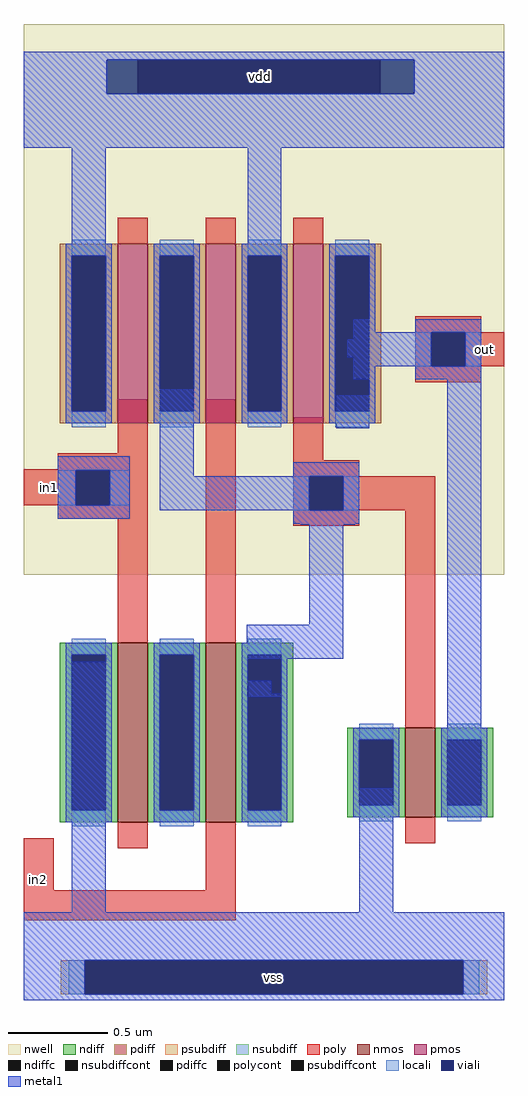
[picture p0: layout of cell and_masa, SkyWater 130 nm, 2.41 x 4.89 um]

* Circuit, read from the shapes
.subckt and_masa in1 in2 out vdd vss
XM1 n1 in1 vss vss sky130_fd_pr__nfet_01v8 w=0.9 l=0.15
XM2 n2 in2 n1 vss sky130_fd_pr__nfet_01v8 w=0.9 l=0.15
XM3 out n2 vss vss sky130_fd_pr__nfet_01v8 w=0.45 l=0.15
XM4 n2 in1 vdd vdd sky130_fd_pr__pfet_01v8 w=0.9 l=0.15
XM5 vdd in2 n2 vdd sky130_fd_pr__pfet_01v8 w=0.9 l=0.15
XM6 out n2 vdd vdd sky130_fd_pr__pfet_01v8 w=0.9 l=0.15
.ends

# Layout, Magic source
magic
tech sky130A
magscale 1 2
<< nwell >>
rect -40 740 441 912
rect -38 501 441 740
rect -40 360 441 501
<< psubdiff >>
rect -3 -60 21 -26
rect 400 -60 424 -26
<< nsubdiff >>
rect 43 842 74 876
rect 317 842 351 876
<< psubdiffcont >>
rect 21 -60 400 -26
<< nsubdiffcont >>
rect 74 842 317 876
<< poly >>
rect 352 603 418 619
rect 352 569 368 603
rect 402 569 441 603
rect 352 553 418 569
rect 54 482 84 536
rect -6 466 84 482
rect -40 465 84 466
rect -40 430 12 465
rect 46 430 84 465
rect -6 416 84 430
rect 54 317 84 416
rect 142 314 172 536
rect 230 475 260 518
rect 230 459 296 475
rect 230 425 246 459
rect 280 425 372 459
rect 230 409 296 425
rect 342 233 372 425
rect -40 44 -10 96
rect 142 44 172 104
rect -40 14 172 44
<< polycont >>
rect 368 569 402 603
rect 12 430 46 465
rect 246 425 280 459
<< locali >>
rect 352 569 368 603
rect 402 569 418 603
rect -6 430 12 465
rect 46 430 66 465
rect 230 425 246 459
rect 280 425 296 459
rect 5 -60 21 -26
rect 400 -60 416 -26
<< viali >>
rect 43 842 74 876
rect 74 842 317 876
rect 317 842 351 876
rect 368 569 402 603
rect 12 430 46 465
rect 246 425 280 459
rect 21 -60 400 -26
<< metal1 >>
rect -40 876 441 884
rect -40 842 43 876
rect 351 842 441 876
rect -40 788 441 842
rect 8 680 42 788
rect 184 680 218 788
rect 290 603 312 616
rect 352 603 418 616
rect 290 596 368 603
rect 284 578 368 596
rect 290 569 368 578
rect 402 569 418 603
rect 290 556 312 569
rect 352 556 418 569
rect -6 465 66 479
rect -6 430 12 465
rect 46 430 66 465
rect -6 416 66 430
rect 96 459 130 546
rect 273 507 306 540
rect 230 459 296 473
rect 96 425 246 459
rect 280 425 296 459
rect 230 411 296 425
rect 237 410 292 411
rect 246 310 280 410
rect 183 276 280 310
rect 8 22 42 273
rect 184 250 208 254
rect 185 241 208 250
rect 185 238 219 241
rect 296 22 330 146
rect 384 117 418 556
rect -40 -26 441 22
rect -40 -60 21 -26
rect 400 -60 441 -26
rect -40 -66 441 -60
use sky130_fd_pr__pfet_01v8_3YK7C3  sky130_fd_pr__pfet_01v8_3YK7C3_0
transform 1 0 69 0 1 602
box -109 -152 109 152
use sky130_fd_pr__pfet_01v8_3YK7C3  sky130_fd_pr__pfet_01v8_3YK7C3_1
transform 1 0 157 0 1 602
box -109 -152 109 152
use sky130_fd_pr__pfet_01v8_3YK7C3  sky130_fd_pr__pfet_01v8_3YK7C3_2
transform 1 0 245 0 1 602
box -109 -152 109 152
use sky130_fd_pr__nfet_01v8_P8KVP3  sky130_fd_pr__nfet_01v8_P8KVP3_1
transform 1 0 157 0 1 202
box -73 -116 73 116
use sky130_fd_pr__nfet_01v8_P8KVP3  sky130_fd_pr__nfet_01v8_P8KVP3_0
transform 1 0 69 0 1 202
box -73 -116 73 116
use sky130_fd_pr__nfet_01v8_J836M4  sky130_fd_pr__nfet_01v8_J836M4_0
transform 1 0 357 0 1 162
box -73 -71 73 71
<< labels >>
rlabel metal1 21 -60 400 -26 1 vss
rlabel poly -40 14 -10 96 1 in2
rlabel poly -40 430 12 466 1 in1
rlabel nwell 43 842 351 876 1 vdd
rlabel poly 402 569 441 603 1 out
<< end >>

# cell sky130_fd_pr__pfet_01v8_3YK7C3: kit device sky130_fd_pr__pfet_01v8, w 0.90000000000001 l 0.15 m 1 nf 1 diffcov 100 polycov 100 guard 0 glc 0 grc 0 gtc 0 gbc 0 tbcov 100 rlcov 100 topc 0 botc 0 poverlap 0 doverlap 1 lmin 0.15 wmin 0.42 compatible {sky130_fd_pr__pfet_01v8 sky130_fd_pr__pfet_01v8_lvt sky130_fd_pr__pfet_01v8_hvt sky130_fd_pr__pfet_g5v0d10v5} full_metal 0 viasrc 100 viadrn 100 viagate 100 viagb 0 viagr 0 viagl 0 viagt 0

# cell sky130_fd_pr__nfet_01v8_P8KVP3: kit device sky130_fd_pr__nfet_01v8, w 0.9 l 0.150 m 1 nf 1 diffcov 100 polycov 100 guard 0 glc 0 grc 0 gtc 0 gbc 0 tbcov 100 rlcov 100 topc 0 botc 0 poverlap 0 doverlap 1 lmin 0.15 wmin 0.42 compatible {sky130_fd_pr__nfet_01v8 sky130_fd_pr__nfet_01v8_lvt sky130_fd_bs_flash__special_sonosfet_star sky130_fd_pr__nfet_g5v0d10v5 sky130_fd_pr__nfet_05v0_nvt} full_metal 0 viasrc 100 viadrn 100 viagate 100 viagb 0 viagr 0 viagl 0 viagt 0

# cell sky130_fd_pr__nfet_01v8_J836M4: kit device sky130_fd_pr__nfet_01v8, w 0.45 l 0.150 m 1 nf 1 diffcov 100 polycov 100 guard 0 glc 0 grc 0 gtc 0 gbc 0 tbcov 100 rlcov 100 topc 0 botc 0 poverlap 0 doverlap 1 lmin 0.15 wmin 0.42 compatible {sky130_fd_pr__nfet_01v8 sky130_fd_pr__nfet_01v8_lvt sky130_fd_bs_flash__special_sonosfet_star sky130_fd_pr__nfet_g5v0d10v5 sky130_fd_pr__nfet_05v0_nvt} full_metal 0 viasrc 100 viadrn 100 viagate 100 viagb 0 viagr 0 viagl 0 viagt 0
